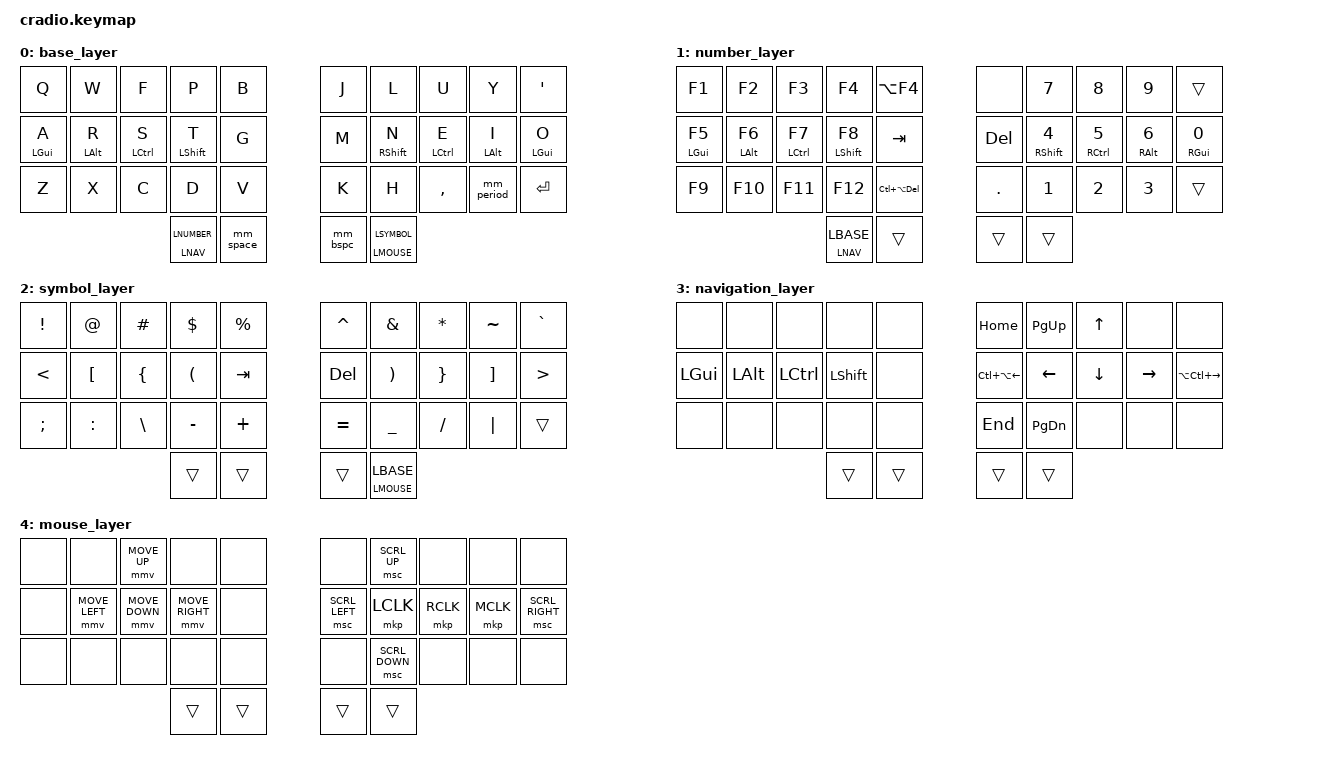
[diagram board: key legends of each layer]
// Copyright (c) 2022 The ZMK Contributors
// SPDX-License-Identifier: MIT

#include <behaviors.dtsi>
#include <dt-bindings/zmk/keys.h>
#include <dt-bindings/zmk/pointing.h>

// Layers

#define LBASE 0
#define LNUMBER 1
#define LSYMBOL 2
#define LNAV 3
#define LMOUSE 4

/ {
    behaviors {
        ht: hold_tap {
            compatible = "zmk,behavior-hold-tap";
            #binding-cells = <2>;
            flavor = "tap-preferred";
            tapping-term-ms = <220>;
            quick-tap-ms = <150>;
            require-prior-idle-ms = <100>;
            bindings = <&kp>, <&kp>;
        };

        ht_f: hold_tap_fast {
            compatible = "zmk,behavior-hold-tap";
            #binding-cells = <2>;
            flavor = "balanced";
            tapping-term-ms = <150>;
            quick-tap-ms = <100>;
            require-prior-idle-ms = <0>;
            bindings = <&kp>, <&kp>;
        };

        lht: layer_hold_tap {
            compatible = "zmk,behavior-hold-tap";
            #binding-cells = <2>;
            flavor = "tap-preferred";
            tapping-term-ms = <220>;
            quick-tap-ms = <150>;
            require-prior-idle-ms = <100>;
            bindings = <&mo>, <&to>;
        };

        mm_period: mod_morph_period {
            compatible = "zmk,behavior-mod-morph";
            #binding-cells = <0>;
            bindings = <&kp PERIOD>, <&kp QUESTION>;

            mods = <(MOD_LSFT|MOD_RSFT)>;
        };

        mm_bspc: mod_morph_bspc {
            compatible = "zmk,behavior-mod-morph";
            #binding-cells = <0>;
            bindings = <&kp BACKSPACE>, <&kp DELETE>;

            mods = <(MOD_LSFT|MOD_RSFT)>;
            keep-mods = <(MOD_LSFT)>;
        };

        mm_space: mod_morph_space {
            compatible = "zmk,behavior-mod-morph";
            #binding-cells = <0>;
            bindings = <&kp SPACE>, <&kp TAB>;

            mods = <(MOD_LSFT|MOD_RSFT)>;
            keep-mods = <(MOD_RSFT)>;
        };
    };

    combos {
        compatible = "zmk,combos";

        combo_esc {
            timeout-ms = <80>;
            key-positions = <0 1>;
            bindings = <&kp ESC>;
        };

        combo_lbase {
            timeout-ms = <80>;
            key-positions = <31 32>;
            bindings = <&to LBASE>;
        };

        combo_caps {
            bindings = <&kp CLCK>;
            key-positions = <33 30>;
        };

        combo_prtsc {
            bindings = <&kp PRINTSCREEN>;
            key-positions = <8 9>;
        };

        combo_mouseless {
            bindings = <&kp F13>;
            key-positions = <24 23>;
        };
    };

    keymap {
        compatible = "zmk,keymap";

        base_layer {
            bindings = <
&kp Q       &kp W       &kp F        &kp P              &kp B        &kp J     &kp L                &kp U        &kp Y           &kp SQT
&ht LGUI A  &ht LALT R  &ht LCTRL S  &ht_f LSHFT T      &kp G        &kp M     &ht_f RSHFT N        &ht LCTRL E  &ht LEFT_ALT I  &ht LEFT_GUI O
&kp Z       &kp X       &kp C        &kp D              &kp V        &kp K     &kp H                &kp COMMA    &mm_period      &kp ENTER
                                     &lht LNAV LNUMBER  &mm_space    &mm_bspc  &lht LMOUSE LSYMBOL
            >;
        };

        number_layer {
            bindings = <
&kp F1       &kp F2           &kp F3        &kp F4           &kp LA(F4)            &none       &kp N7                      &kp N8                &kp N9                  &trans
&ht LGUI F5  &ht LEFT_ALT F6  &ht LCTRL F7  &ht_f LSHIFT F8  &kp TAB               &kp DEL     &ht_f RIGHT_SHIFT NUMBER_4  &ht RIGHT_CONTROL N5  &ht RIGHT_ALT NUMBER_6  &ht RIGHT_GUI N0
&kp F9       &kp F10          &kp F11       &kp F12          &kp LC(LA(DELETE))    &kp PERIOD  &kp N1                      &kp N2                &kp NUMBER_3            &trans
                                            &lht LNAV LBASE  &trans                &trans      &trans
            >;
        };

        symbol_layer {
            bindings = <
&kp EXCLAMATION  &kp AT            &kp HASH        &kp DOLLAR            &kp PERCENT    &kp CARET   &kp AMPERSAND          &kp ASTERISK     &kp TILDE          &kp GRAVE
&kp LESS_THAN    &kp LEFT_BRACKET  &kp LEFT_BRACE  &kp LEFT_PARENTHESIS  &kp TAB        &kp DELETE  &kp RIGHT_PARENTHESIS  &kp RIGHT_BRACE  &kp RIGHT_BRACKET  &kp GREATER_THAN
&kp SEMICOLON    &kp COLON         &kp BSLH        &kp MINUS             &kp PLUS       &kp EQUAL   &kp UNDER              &kp SLASH        &kp PIPE           &trans
                                                   &trans                &trans         &trans      &lht LMOUSE LBASE
            >;
        };

        navigation_layer {
            bindings = <
&none     &none     &none      &none      &none     &kp HOME          &kp PAGE_UP    &kp UP    &none      &none
&kp LGUI  &kp LALT  &kp LCTRL  &kp LSHFT  &none     &kp LC(LA(LEFT))  &kp LEFT       &kp DOWN  &kp RIGHT  &kp LA(LC(RIGHT))
&none     &none     &none      &none      &none     &kp END           &kp PAGE_DOWN  &none     &none      &none
                               &trans     &trans    &trans            &trans
            >;
        };

        mouse_layer {
            bindings = <
&none  &none           &mmv MOVE_UP    &none            &none     &none           &msc SCRL_UP    &none      &none      &none
&none  &mmv MOVE_LEFT  &mmv MOVE_DOWN  &mmv MOVE_RIGHT  &none     &msc SCRL_LEFT  &mkp LCLK       &mkp RCLK  &mkp MCLK  &msc SCRL_RIGHT
&none  &none           &none           &none            &none     &none           &msc SCRL_DOWN  &none      &none      &none
                                       &trans           &trans    &trans          &trans
            >;
        };
    };
};
